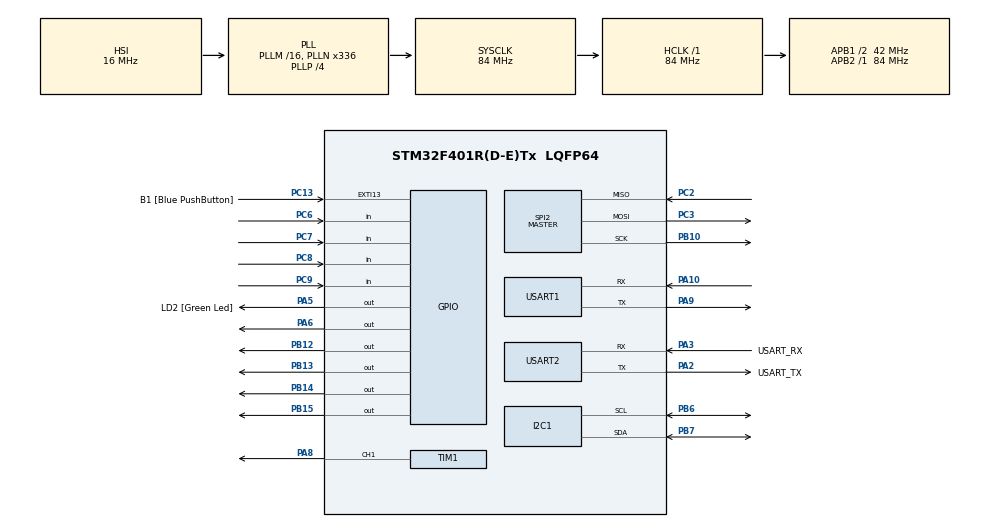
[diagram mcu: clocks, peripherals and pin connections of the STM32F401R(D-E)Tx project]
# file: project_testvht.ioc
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FATFS._MAX_SS=4096
FATFS._USE_LFN=1
Mcu.Family=STM32F4
Mcu.Name=STM32F401R(D-E)Tx
Mcu.Package=LQFP64
NVIC.PriorityGroup=NVIC_PRIORITYGROUP_4
NVIC.TIM4_IRQn=true\:15\:0\:false\:false\:true\:false\:true\:true
NVIC.TimeBase=TIM4_IRQn
NVIC.TimeBaseIP=TIM4
PA10.Mode=Asynchronous
PA10.Signal=USART1_RX
PA13.GPIO_Label=TMS
PA13.Signal=SYS_JTMS-SWDIO
PA14.GPIO_Label=TCK
PA14.Signal=SYS_JTCK-SWCLK
PA2.GPIO_Label=USART_TX
PA2.GPIO_Mode=GPIO_MODE_AF_PP
PA2.GPIO_PuPd=GPIO_NOPULL
PA2.GPIO_Speed=GPIO_SPEED_FREQ_LOW
PA2.Mode=Asynchronous
PA2.Signal=USART2_TX
PA3.GPIO_Label=USART_RX
PA3.GPIO_Mode=GPIO_MODE_AF_PP
PA3.GPIO_PuPd=GPIO_NOPULL
PA3.GPIO_Speed=GPIO_SPEED_FREQ_LOW
PA3.Mode=Asynchronous
PA3.Signal=USART2_RX
PA5.GPIO_Label=LD2 [Green Led]
PA5.GPIO_Mode=GPIO_MODE_OUTPUT_PP
PA5.GPIO_PuPd=GPIO_NOPULL
PA5.GPIO_Speed=GPIO_SPEED_FREQ_LOW
PA5.Signal=GPIO_Output
PA6.Signal=GPIO_Output
PA8.Signal=S_TIM1_CH1
PA9.Mode=Asynchronous
PA9.Signal=USART1_TX
PB10.Mode=Full_Duplex_Master
PB10.Signal=SPI2_SCK
PB12.PinState=GPIO_PIN_SET
PB12.Signal=GPIO_Output
PB13.PinState=GPIO_PIN_SET
PB13.Signal=GPIO_Output
PB14.PinState=GPIO_PIN_SET
PB14.Signal=GPIO_Output
PB15.PinState=GPIO_PIN_SET
PB15.Signal=GPIO_Output
PB3.GPIO_Label=SWO
PB3.Signal=SYS_JTDO-SWO
PB6.Mode=I2C
PB6.Signal=I2C1_SCL
PB7.Mode=I2C
PB7.Signal=I2C1_SDA
PC13-ANTI_TAMP.GPIO_Label=B1 [Blue PushButton]
PC13-ANTI_TAMP.GPIO_ModeDefaultEXTI=GPIO_MODE_IT_FALLING
PC13-ANTI_TAMP.GPIO_PuPd=GPIO_NOPULL
PC13-ANTI_TAMP.Signal=GPXTI13
PC14-OSC32_IN.Signal=RCC_OSC32_IN
PC15-OSC32_OUT.Signal=RCC_OSC32_OUT
PC2.Mode=Full_Duplex_Master
PC2.Signal=SPI2_MISO
PC3.Mode=Full_Duplex_Master
PC3.Signal=SPI2_MOSI
PC6.GPIO_PuPd=GPIO_PULLUP
PC6.Signal=GPIO_Input
PC7.GPIO_PuPd=GPIO_PULLUP
PC7.Signal=GPIO_Input
PC8.GPIO_PuPd=GPIO_PULLUP
PC8.Signal=GPIO_Input
PC9.GPIO_PuPd=GPIO_PULLUP
PC9.Signal=GPIO_Input
PH0\ -\ OSC_IN.Signal=RCC_OSC_IN
PH1\ -\ OSC_OUT.Signal=RCC_OSC_OUT
ProjectManager.HeapSize=0x200
ProjectManager.StackSize=0x400
ProjectManager.TargetToolchain=STM32CubeIDE
RCC.AHBFreq_Value=84000000
RCC.APB1CLKDivider=RCC_HCLK_DIV2
RCC.APB1Freq_Value=42000000
RCC.APB1TimFreq_Value=84000000
RCC.APB2Freq_Value=84000000
RCC.APB2TimFreq_Value=84000000
RCC.CortexFreq_Value=84000000
RCC.HCLKFreq_Value=84000000
RCC.HSE_VALUE=8000000
RCC.HSI_VALUE=16000000
RCC.LSE_VALUE=32768
RCC.PLLN=336
RCC.PLLP=RCC_PLLP_DIV4
RCC.PLLQ=7
RCC.SYSCLKFreq_VALUE=84000000
RCC.SYSCLKSource=RCC_SYSCLKSOURCE_PLLCLK
RCC.VCOOutputFreq_Value=336000000
SH.S_TIM1_CH1.0=TIM1_CH1,PWM Generation1 CH1
SPI2.BaudRatePrescaler=SPI_BAUDRATEPRESCALER_8
SPI2.Direction=SPI_DIRECTION_2LINES
SPI2.Mode=SPI_MODE_MASTER
SPI2.VirtualType=VM_MASTER
TIM1.Channel-PWM\ Generation1\ CH1=TIM_CHANNEL_1
TIM1.Period=1000-1
TIM1.Prescaler=84-1
USART1.VirtualMode=VM_ASYNC
USART2.VirtualMode=VM_ASYNC
VP_FATFS_VS_Generic.Mode=User_defined
VP_SYS_VS_tim4.Mode=TIM4
VP_TIM1_VS_ClockSourceINT.Mode=Internal
board=NUCLEO-F401RE

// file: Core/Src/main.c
/* USER CODE BEGIN Header */
/**
  ******************************************************************************
  * @file           : main.c
  * @brief          : Main program body
  ******************************************************************************
  * @attention
  *
  * Copyright (c) 2025 STMicroelectronics.
  * All rights reserved.
  *
  * This software is licensed under terms that can be found in the LICENSE file
  * in the root directory of this software component.
  * If no LICENSE file comes with this software, it is provided AS-IS.
  *
  ******************************************************************************
  */
/* USER CODE END Header */
#include "main.h"
#include "fatfs.h"

I2C_HandleTypeDef hi2c1;

SPI_HandleTypeDef hspi2;

TIM_HandleTypeDef htim1;

UART_HandleTypeDef huart1;
UART_HandleTypeDef huart2;

/* USER CODE BEGIN PV */
CLCD_I2C_Name LCD1;

TaskHandle_t handle_sensor_task;
TaskHandle_t handle_print_task;
TaskHandle_t handle_scan_keypad_task;
TaskHandle_t handle_menuconfig_task;
TaskHandle_t handle_password_task;
TaskHandle_t handle_motor_task;
TaskHandle_t handle_sd_card_task;

QueueHandle_t q_print;

//state variable
state_t curr_state = sRunning;

//innit parameter
Parameter_Infor parameter =
{
		"123123",
		3,
		4,
		5,
		6
};

Parameter_Infor parameter_read;

// parameter of fatfs
FATFS fs;  // file system
FIL fil; // File
FILINFO fno;
FRESULT fresult;  // result
UINT br, bw;  // File read/write count

/**** capacity related *****/
FATFS *pfs;
DWORD fre_clust;
uint32_t total, free_space;

#define BUFFER_SIZE 128
char buffer[BUFFER_SIZE];  // to store strings..

// counter of fafts
volatile uint8_t FatFsCnt = 0;
volatile uint8_t Timer1, Timer2;

void SDTimer_Handler(void)
{
  if(Timer1 > 0)
    Timer1--;

  if(Timer2 > 0)
    Timer2--;
}

/* USER CODE END PV */

void SystemClock_Config(void);
static void MX_GPIO_Init(void);
static void MX_I2C1_Init(void);
static void MX_USART1_UART_Init(void);
static void MX_TIM1_Init(void);
static void MX_SPI2_Init(void);
static void MX_USART2_UART_Init(void);

int main(void)
{

  /* USER CODE BEGIN 1 */
	BaseType_t status;
  /* USER CODE END 1 */

  /* MCU Configuration--------------------------------------------------------*/

  /* Reset of all peripherals, Initializes the Flash interface and the Systick. */
  HAL_Init();

  /* Configure the system clock */
  SystemClock_Config();

  /* Initialize all configured peripherals */
  MX_GPIO_Init();
  MX_I2C1_Init();
  MX_USART1_UART_Init();
  MX_TIM1_Init();
  MX_SPI2_Init();
  MX_FATFS_Init();
  MX_USART2_UART_Init();
  /* USER CODE BEGIN 2 */

  // init lcd
  CLCD_I2C_Init(&LCD1,&hi2c1,0x4e,20,4);

  // init fatfs
  fresult = f_mount(&fs, "/", 1);
  if (fresult != FR_OK)  print_cli("ERROR!!! in mounting SD CARD...\n\n");
  else print_cli("SD CARD mounted successfully...\n\n");

  // write parameter into flash
//     flash_unlock();
//     flash_erease(FLASH_SECTOR_6);
//     flash_write_arr(0x08040000,(uint8_t *)&parameter,sizeof(parameter));
//     flash_lock();

  // read parameter from flash
  flash_read_arr(0x08040000, (uint8_t*)&parameter_read, sizeof(parameter_read));

// create tasks
  status = xTaskCreate(sensor_task, "sensor_task", 250, NULL, 2, &handle_sensor_task);

  configASSERT(status);

  status = xTaskCreate(scan_keypad_task, "scan_keypad_task", 250, NULL, 3, &handle_scan_keypad_task);

  configASSERT(status);

  status = xTaskCreate(print_task, "print_task", 250, NULL, 2, &handle_print_task);

  configASSERT(status);

  status = xTaskCreate(motor_task, "motor_task", 250, NULL, 3, &handle_motor_task);

  configASSERT(status);

  status = xTaskCreate(menuconfig_task, "menuconfig_task", 250, NULL, 2, &handle_menuconfig_task);

  configASSERT(status);

  status = xTaskCreate(password_task, "password_task", 250, NULL, 2, &handle_password_task);

  configASSERT(status);

  status = xTaskCreate(sd_card_task, "sd_card_task", 250, NULL, 2, &handle_sd_card_task);

  configASSERT(status);

  // create queues
  q_print = xQueueCreate(10, sizeof(size_t));

  configASSERT(q_print != NULL);

  // start schedule
  vTaskStartScheduler();
  /* USER CODE END 2 */

  /* Infinite loop */
  while (1)
  {

  }
}

void SystemClock_Config(void)
{
  RCC_OscInitTypeDef RCC_OscInitStruct = {0};
  RCC_ClkInitTypeDef RCC_ClkInitStruct = {0};

  /** Configure the main internal regulator output voltage
  */
  __HAL_RCC_PWR_CLK_ENABLE();
  __HAL_PWR_VOLTAGESCALING_CONFIG(PWR_REGULATOR_VOLTAGE_SCALE2);

  /** Initializes the RCC Oscillators according to the specified parameters
  * in the RCC_OscInitTypeDef structure.
  */
  RCC_OscInitStruct.OscillatorType = RCC_OSCILLATORTYPE_HSI;
  RCC_OscInitStruct.HSIState = RCC_HSI_ON;
  RCC_OscInitStruct.HSICalibrationValue = RCC_HSICALIBRATION_DEFAULT;
  RCC_OscInitStruct.PLL.PLLState = RCC_PLL_ON;
  RCC_OscInitStruct.PLL.PLLSource = RCC_PLLSOURCE_HSI;
  RCC_OscInitStruct.PLL.PLLM = 16;
  RCC_OscInitStruct.PLL.PLLN = 336;
  RCC_OscInitStruct.PLL.PLLP = RCC_PLLP_DIV4;
  RCC_OscInitStruct.PLL.PLLQ = 7;
  if (HAL_RCC_OscConfig(&RCC_OscInitStruct) != HAL_OK)
  {
    Error_Handler();
  }

  /** Initializes the CPU, AHB and APB buses clocks
  */
  RCC_ClkInitStruct.ClockType = RCC_CLOCKTYPE_HCLK|RCC_CLOCKTYPE_SYSCLK
                              |RCC_CLOCKTYPE_PCLK1|RCC_CLOCKTYPE_PCLK2;
  RCC_ClkInitStruct.SYSCLKSource = RCC_SYSCLKSOURCE_PLLCLK;
  RCC_ClkInitStruct.AHBCLKDivider = RCC_SYSCLK_DIV1;
  RCC_ClkInitStruct.APB1CLKDivider = RCC_HCLK_DIV2;
  RCC_ClkInitStruct.APB2CLKDivider = RCC_HCLK_DIV1;

  if (HAL_RCC_ClockConfig(&RCC_ClkInitStruct, FLASH_LATENCY_2) != HAL_OK)
  {
    Error_Handler();
  }
}

static void MX_I2C1_Init(void)
{

  hi2c1.Instance = I2C1;
  hi2c1.Init.ClockSpeed = 100000;
  hi2c1.Init.DutyCycle = I2C_DUTYCYCLE_2;
  hi2c1.Init.OwnAddress1 = 0;
  hi2c1.Init.AddressingMode = I2C_ADDRESSINGMODE_7BIT;
  hi2c1.Init.DualAddressMode = I2C_DUALADDRESS_DISABLE;
  hi2c1.Init.OwnAddress2 = 0;
  hi2c1.Init.GeneralCallMode = I2C_GENERALCALL_DISABLE;
  hi2c1.Init.NoStretchMode = I2C_NOSTRETCH_DISABLE;
  if (HAL_I2C_Init(&hi2c1) != HAL_OK)
  {
    Error_Handler();
  }

}

static void MX_SPI2_Init(void)
{

  /* SPI2 parameter configuration*/
  hspi2.Instance = SPI2;
  hspi2.Init.Mode = SPI_MODE_MASTER;
  hspi2.Init.Direction = SPI_DIRECTION_2LINES;
  hspi2.Init.DataSize = SPI_DATASIZE_8BIT;
  hspi2.Init.CLKPolarity = SPI_POLARITY_LOW;
  hspi2.Init.CLKPhase = SPI_PHASE_1EDGE;
  hspi2.Init.NSS = SPI_NSS_SOFT;
  hspi2.Init.BaudRatePrescaler = SPI_BAUDRATEPRESCALER_8;
  hspi2.Init.FirstBit = SPI_FIRSTBIT_MSB;
  hspi2.Init.TIMode = SPI_TIMODE_DISABLE;
  hspi2.Init.CRCCalculation = SPI_CRCCALCULATION_DISABLE;
  hspi2.Init.CRCPolynomial = 10;
  if (HAL_SPI_Init(&hspi2) != HAL_OK)
  {
    Error_Handler();
  }

}

static void MX_TIM1_Init(void)
{

  TIM_ClockConfigTypeDef sClockSourceConfig = {0};
  TIM_MasterConfigTypeDef sMasterConfig = {0};
  TIM_OC_InitTypeDef sConfigOC = {0};
  TIM_BreakDeadTimeConfigTypeDef sBreakDeadTimeConfig = {0};

  htim1.Instance = TIM1;
  htim1.Init.Prescaler = 84-1;
  htim1.Init.CounterMode = TIM_COUNTERMODE_UP;
  htim1.Init.Period = 1000-1;
  htim1.Init.ClockDivision = TIM_CLOCKDIVISION_DIV1;
  htim1.Init.RepetitionCounter = 0;
  htim1.Init.AutoReloadPreload = TIM_AUTORELOAD_PRELOAD_DISABLE;
  if (HAL_TIM_Base_Init(&htim1) != HAL_OK)
  {
    Error_Handler();
  }
  sClockSourceConfig.ClockSource = TIM_CLOCKSOURCE_INTERNAL;
  if (HAL_TIM_ConfigClockSource(&htim1, &sClockSourceConfig) != HAL_OK)
  {
    Error_Handler();
  }
  if (HAL_TIM_PWM_Init(&htim1) != HAL_OK)
  {
    Error_Handler();
  }
  sMasterConfig.MasterOutputTrigger = TIM_TRGO_RESET;
  sMasterConfig.MasterSlaveMode = TIM_MASTERSLAVEMODE_DISABLE;
  if (HAL_TIMEx_MasterConfigSynchronization(&htim1, &sMasterConfig) != HAL_OK)
  {
    Error_Handler();
  }
  sConfigOC.OCMode = TIM_OCMODE_PWM1;
  sConfigOC.Pulse = 0;
  sConfigOC.OCPolarity = TIM_OCPOLARITY_HIGH;
  sConfigOC.OCNPolarity = TIM_OCNPOLARITY_HIGH;
  sConfigOC.OCFastMode = TIM_OCFAST_DISABLE;
  sConfigOC.OCIdleState = TIM_OCIDLESTATE_RESET;
  sConfigOC.OCNIdleState = TIM_OCNIDLESTATE_RESET;
  if (HAL_TIM_PWM_ConfigChannel(&htim1, &sConfigOC, TIM_CHANNEL_1) != HAL_OK)
  {
    Error_Handler();
  }
  sBreakDeadTimeConfig.OffStateRunMode = TIM_OSSR_DISABLE;
  sBreakDeadTimeConfig.OffStateIDLEMode = TIM_OSSI_DISABLE;
  sBreakDeadTimeConfig.LockLevel = TIM_LOCKLEVEL_OFF;
  sBreakDeadTimeConfig.DeadTime = 0;
  sBreakDeadTimeConfig.BreakState = TIM_BREAK_DISABLE;
  sBreakDeadTimeConfig.BreakPolarity = TIM_BREAKPOLARITY_HIGH;
  sBreakDeadTimeConfig.AutomaticOutput = TIM_AUTOMATICOUTPUT_DISABLE;
  if (HAL_TIMEx_ConfigBreakDeadTime(&htim1, &sBreakDeadTimeConfig) != HAL_OK)
  {
    Error_Handler();
  }
  HAL_TIM_MspPostInit(&htim1);

}

static void MX_USART1_UART_Init(void)
{

  huart1.Instance = USART1;
  huart1.Init.BaudRate = 115200;
  huart1.Init.WordLength = UART_WORDLENGTH_8B;
  huart1.Init.StopBits = UART_STOPBITS_1;
  huart1.Init.Parity = UART_PARITY_NONE;
  huart1.Init.Mode = UART_MODE_TX_RX;
  huart1.Init.HwFlowCtl = UART_HWCONTROL_NONE;
  huart1.Init.OverSampling = UART_OVERSAMPLING_16;
  if (HAL_UART_Init(&huart1) != HAL_OK)
  {
    Error_Handler();
  }

}

static void MX_USART2_UART_Init(void)
{

  huart2.Instance = USART2;
  huart2.Init.BaudRate = 115200;
  huart2.Init.WordLength = UART_WORDLENGTH_8B;
  huart2.Init.StopBits = UART_STOPBITS_1;
  huart2.Init.Parity = UART_PARITY_NONE;
  huart2.Init.Mode = UART_MODE_TX_RX;
  huart2.Init.HwFlowCtl = UART_HWCONTROL_NONE;
  huart2.Init.OverSampling = UART_OVERSAMPLING_16;
  if (HAL_UART_Init(&huart2) != HAL_OK)
  {
    Error_Handler();
  }

}

static void MX_GPIO_Init(void)
{
  GPIO_InitTypeDef GPIO_InitStruct = {0};

  /* GPIO Ports Clock Enable */
  __HAL_RCC_GPIOC_CLK_ENABLE();
  __HAL_RCC_GPIOH_CLK_ENABLE();
  __HAL_RCC_GPIOA_CLK_ENABLE();
  __HAL_RCC_GPIOB_CLK_ENABLE();

  /*Configure GPIO pin Output Level */
  HAL_GPIO_WritePin(GPIOA, LD2_Pin|GPIO_PIN_6, GPIO_PIN_RESET);

  /*Configure GPIO pin Output Level */
  HAL_GPIO_WritePin(GPIOB, GPIO_PIN_12|GPIO_PIN_13|GPIO_PIN_14|GPIO_PIN_15, GPIO_PIN_SET);

  /*Configure GPIO pin : B1_Pin */
  GPIO_InitStruct.Pin = B1_Pin;
  GPIO_InitStruct.Mode = GPIO_MODE_IT_FALLING;
  GPIO_InitStruct.Pull = GPIO_NOPULL;
  HAL_GPIO_Init(B1_GPIO_Port, &GPIO_InitStruct);

  /*Configure GPIO pins : LD2_Pin PA6 */
  GPIO_InitStruct.Pin = LD2_Pin|GPIO_PIN_6;
  GPIO_InitStruct.Mode = GPIO_MODE_OUTPUT_PP;
  GPIO_InitStruct.Pull = GPIO_NOPULL;
  GPIO_InitStruct.Speed = GPIO_SPEED_FREQ_LOW;
  HAL_GPIO_Init(GPIOA, &GPIO_InitStruct);

  /*Configure GPIO pins : PB12 PB13 PB14 PB15 */
  GPIO_InitStruct.Pin = GPIO_PIN_12|GPIO_PIN_13|GPIO_PIN_14|GPIO_PIN_15;
  GPIO_InitStruct.Mode = GPIO_MODE_OUTPUT_PP;
  GPIO_InitStruct.Pull = GPIO_NOPULL;
  GPIO_InitStruct.Speed = GPIO_SPEED_FREQ_LOW;
  HAL_GPIO_Init(GPIOB, &GPIO_InitStruct);

  /*Configure GPIO pins : PC6 PC7 PC8 PC9 */
  GPIO_InitStruct.Pin = GPIO_PIN_6|GPIO_PIN_7|GPIO_PIN_8|GPIO_PIN_9;
  GPIO_InitStruct.Mode = GPIO_MODE_INPUT;
  GPIO_InitStruct.Pull = GPIO_PULLUP;
  HAL_GPIO_Init(GPIOC, &GPIO_InitStruct);

}

void HAL_TIM_PeriodElapsedCallback(TIM_HandleTypeDef *htim)
{
  /* USER CODE BEGIN Callback 0 */
	  FatFsCnt++;
	  if(FatFsCnt >= 10)
	  {
	    FatFsCnt = 0;
	    SDTimer_Handler();
	  }

  /* USER CODE END Callback 0 */
  if (htim->Instance == TIM4) {
    HAL_IncTick();
  }
}

void Error_Handler(void)
{
  __disable_irq();
  while (1)
  {
  }
}
